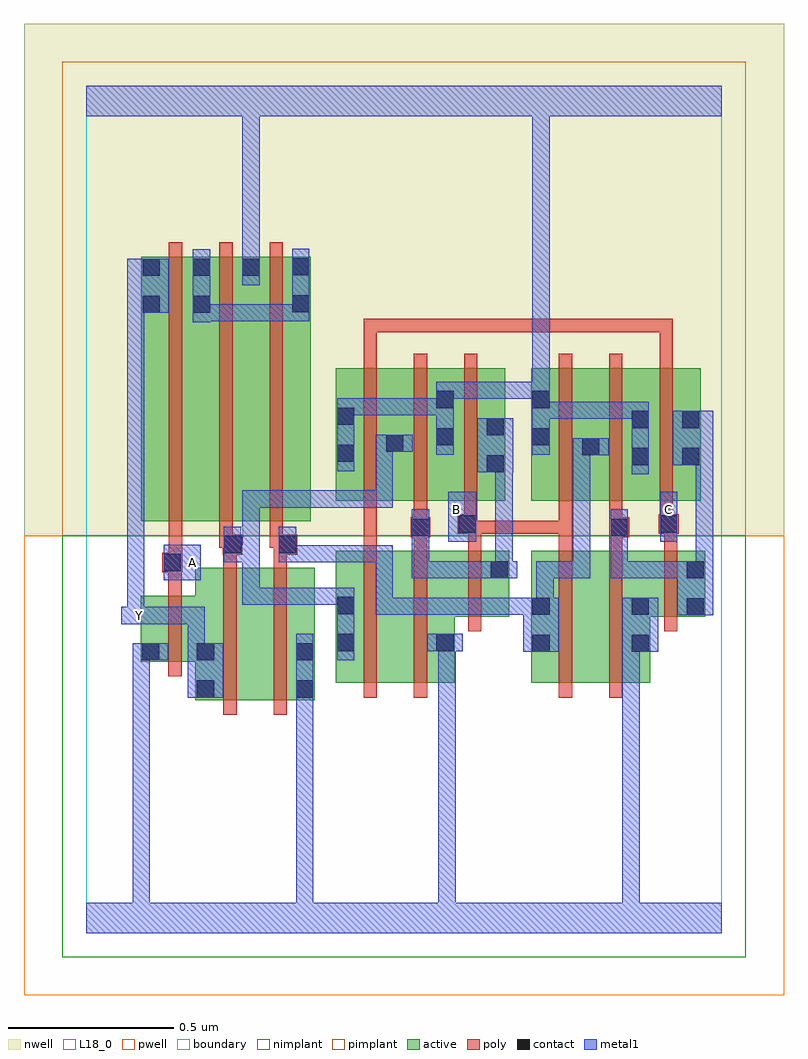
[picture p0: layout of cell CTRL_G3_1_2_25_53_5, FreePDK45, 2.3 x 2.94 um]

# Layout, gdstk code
import gdstk
lib = gdstk.Library(unit=1e-6, precision=1e-09)
def R(c, l, rs):  # rectangles x0, y0, x1, y1
    for r in rs: c.add(gdstk.rectangle(r[:2], r[2:], *l))
def A(c, l, x, y, w, h, nx, ny, dx, dy):  # array of equal rectangles
    R(c, l, [(x+i*dx, y+j*dy, x+i*dx+w, y+j*dy+h) for i in range(nx) for j in range(ny)])
active = (1, 0)
pwell = (2, 0)
nwell = (3, 0)
nimplant = (4, 0)
pimplant = (5, 0)
poly = (9, 0)
contact = (10, 0)
metal1 = (11, 0)
L18_0 = (18, 0)
boundary = (235, 0)

ctrl_g3_1_2_25_53_5 = lib.new_cell('CTRL_G3_1_2_25_53_5')
A(ctrl_g3_1_2_25_53_5, active, 0.318, 1.244, 0.06, 0.8, 3, 1, 0.15, 0)
R(ctrl_g3_1_2_25_53_5, active, [(0.33,0.704,0.51,1.104), (0.33,0.704,0.39,1.02), (0.51,0.704,0.69,1.104), (0.63,0.704,0.69,1.104), (0.754,0.756,0.934,1.156), (0.754,0.756,0.814,1.156), (0.934,0.756,1.114,1.156), (1.054,0.756,1.114,1.022), (1.344,0.756,1.524,1.156), (1.344,0.756,1.404,1.156), (1.524,0.756,1.704,1.156), (0.164,0.82,0.224,1.02), (0.164,0.82,0.39,1.02), (1.644,0.846,1.704,1.018), (1.054,0.956,1.278,1.156), (1.218,0.956,1.278,1.156), (1.644,0.956,1.87,1.156), (1.81,0.956,1.87,1.156), (0.166,1.244,0.226,2.044), (0.166,1.244,0.378,2.044), (0.318,1.244,0.528,2.044), (0.468,1.244,0.678,2.044), (0.754,1.306,0.814,1.644), (0.754,1.306,0.962,1.706), (0.902,1.306,1.114,1.706), (1.054,1.306,1.114,1.706), (1.054,1.306,1.266,1.706), (1.206,1.306,1.266,1.644), (1.344,1.306,1.554,1.706), (1.344,1.306,1.404,1.644), (1.494,1.306,1.704,1.706), (1.644,1.306,1.856,1.706), (1.796,1.306,1.856,1.706), (1.644,1.41,1.704,1.644), (1.494,1.44,1.554,1.644), (0.902,1.45,0.962,1.644)])
R(ctrl_g3_1_2_25_53_5, pwell, [(-0.188,-0.188,2.108,1.2)])
R(ctrl_g3_1_2_25_53_5, nwell, [(-0.188,1.2,2.108,2.748)])
R(ctrl_g3_1_2_25_53_5, nimplant, [(-0.072,-0.072,1.992,1.2)])
R(ctrl_g3_1_2_25_53_5, pimplant, [(-0.072,1.2,1.992,2.632)])
A(ctrl_g3_1_2_25_53_5, poly, 0.25, 1.2, 0.04, 0.888, 3, 1, 0.152, 0)
A(ctrl_g3_1_2_25_53_5, poly, 0.838, 1.262, 0.04, 0.488, 3, 1, 0.152, 0)
A(ctrl_g3_1_2_25_53_5, poly, 1.428, 1.262, 0.04, 0.488, 3, 1, 0.152, 0)
R(ctrl_g3_1_2_25_53_5, poly, [(0.414,0.66,0.454,1.148), (0.566,0.66,0.606,1.148), (0.838,0.712,0.878,1.2), (0.99,0.712,1.03,1.2), (1.428,0.712,1.468,1.2), (1.58,0.712,1.62,1.2), (0.248,0.776,0.288,1.064), (1.154,0.912,1.194,1.2), (1.746,0.912,1.786,1.2), (0.248,1.024,0.288,1.13), (0.23,1.09,0.29,1.15), (0.248,1.09,0.288,1.13), (0.248,1.09,0.288,1.13), (0.414,1.108,0.454,1.184), (0.566,1.108,0.606,1.184), (0.25,1.11,0.29,1.24), (0.412,1.144,0.472,1.204), (0.566,1.144,0.638,1.204), (0.838,1.16,0.878,1.266), (0.99,1.16,1.03,1.236), (1.154,1.16,1.194,1.246), (1.428,1.16,1.468,1.246), (1.58,1.16,1.62,1.236), (1.746,1.16,1.786,1.246), (0.402,1.164,0.442,1.24), (0.402,1.164,0.452,1.204), (0.412,1.164,0.452,1.204), (0.554,1.164,0.594,1.24), (0.554,1.164,0.606,1.204), (0.566,1.164,0.606,1.204), (0.98,1.196,1.04,1.256), (1.58,1.196,1.64,1.256), (1.122,1.206,1.182,1.266), (1.142,1.206,1.182,1.246), (1.142,1.206,1.194,1.246), (1.154,1.206,1.194,1.246), (1.154,1.206,1.194,1.246), (1.154,1.206,1.468,1.246), (1.428,1.206,1.468,1.246), (1.428,1.206,1.468,1.246), (1.428,1.206,1.468,1.246), (1.428,1.206,1.468,1.246), (1.428,1.206,1.468,1.246), (1.428,1.206,1.468,1.302), (1.73,1.206,1.79,1.266), (1.746,1.206,1.786,1.246), (1.746,1.206,1.786,1.246), (0.99,1.216,1.03,1.256), (0.99,1.216,1.03,1.256), (0.99,1.216,1.03,1.302), (1.58,1.216,1.62,1.256), (1.58,1.216,1.62,1.256), (1.58,1.216,1.62,1.302), (0.838,1.226,0.878,1.266), (0.838,1.226,0.878,1.266), (0.838,1.226,0.878,1.266), (0.838,1.226,0.878,1.302), (1.142,1.226,1.182,1.302), (1.732,1.226,1.772,1.302), (0.838,1.71,0.878,1.856), (1.732,1.71,1.772,1.856), (0.838,1.816,0.878,1.856), (0.838,1.816,0.878,1.856), (0.838,1.816,0.878,1.856), (0.838,1.816,1.04,1.856), (1,1.816,1.04,1.856), (1,1.816,1.04,1.856), (1,1.816,1.04,1.856), (1,1.816,1.146,1.856), (1.106,1.816,1.146,1.856), (1.106,1.816,1.146,1.856), (1.106,1.816,1.146,1.856), (1.106,1.816,1.514,1.856), (1.474,1.816,1.514,1.856), (1.474,1.816,1.514,1.856), (1.474,1.816,1.514,1.856), (1.474,1.816,1.664,1.856), (1.624,1.816,1.664,1.856), (1.624,1.816,1.664,1.856), (1.624,1.816,1.664,1.856), (1.624,1.816,1.772,1.856), (1.732,1.816,1.772,1.856), (1.732,1.816,1.772,1.856), (1.732,1.816,1.772,1.856)])
R(ctrl_g3_1_2_25_53_5, contact, [(0.334,0.712,0.386,0.764), (0.634,0.712,0.686,0.764), (0.168,0.824,0.22,0.876), (0.334,0.824,0.386,0.876), (0.634,0.824,0.686,0.876), (1.348,0.85,1.4,0.902), (1.648,0.85,1.7,0.902), (0.758,0.852,0.81,0.904), (1.058,0.852,1.11,0.904), (1.814,0.96,1.866,1.012), (1.348,0.962,1.4,1.014), (1.648,0.962,1.7,1.014), (0.758,0.964,0.81,1.016), (1.222,1.072,1.274,1.124), (1.814,1.072,1.866,1.124), (0.234,1.094,0.286,1.146), (0.416,1.148,0.468,1.2), (0.582,1.148,0.634,1.2), (0.984,1.2,1.036,1.252), (1.584,1.2,1.636,1.252), (1.126,1.21,1.178,1.262), (1.734,1.21,1.786,1.262), (1.21,1.392,1.262,1.444), (1.648,1.414,1.7,1.466), (1.8,1.414,1.852,1.466), (0.758,1.424,0.81,1.476), (1.498,1.444,1.55,1.496), (0.906,1.454,0.958,1.506), (1.058,1.474,1.11,1.526), (1.348,1.474,1.4,1.526), (1.21,1.504,1.262,1.556), (1.648,1.526,1.7,1.578), (1.8,1.526,1.852,1.578), (0.758,1.536,0.81,1.588), (1.058,1.586,1.11,1.638), (1.348,1.586,1.4,1.638), (0.17,1.874,0.222,1.926), (0.322,1.874,0.374,1.926), (0.622,1.876,0.674,1.928), (0.17,1.986,0.222,2.038), (0.322,1.986,0.374,2.038), (0.472,1.986,0.524,2.038), (0.622,1.988,0.674,2.04)])
R(ctrl_g3_1_2_25_53_5, metal1, [(0,0,1.92,0.092), (0.14,0.04,0.192,0.092), (0.14,0.04,0.192,0.092), (0.14,0.04,0.192,0.092), (0.14,0.04,0.192,0.092), (0.14,0.04,0.192,0.092), (0.14,0.04,0.192,0.092), (0.14,0.04,0.192,0.092), (0.14,0.04,0.192,0.092), (0.14,0.04,0.192,0.092), (0.14,0.04,0.192,0.092), (0.14,0.04,0.192,0.092), (0.14,0.04,0.192,0.092), (0.14,0.04,0.192,0.092), (0.14,0.04,0.192,0.092), (0.14,0.04,0.192,0.876), (0.634,0.04,0.686,0.092), (0.634,0.04,0.686,0.092), (0.634,0.04,0.686,0.092), (0.634,0.04,0.686,0.092), (0.634,0.04,0.686,0.092), (0.634,0.04,0.686,0.092), (0.634,0.04,0.686,0.736), (1.064,0.04,1.116,0.092), (1.064,0.04,1.116,0.092), (1.064,0.04,1.116,0.092), (1.064,0.04,1.116,0.092), (1.064,0.04,1.116,0.092), (1.064,0.04,1.116,0.092), (1.064,0.04,1.116,0.904), (1.62,0.04,1.672,0.902), (0.634,0.684,0.686,0.736), (0.634,0.684,0.686,0.736), (0.634,0.684,0.686,0.736), (0.634,0.684,0.686,0.736), (0.634,0.684,0.686,0.736), (0.634,0.684,0.686,0.736), (0.634,0.684,0.686,0.904), (0.306,0.712,0.414,0.876), (0.14,0.824,0.192,0.876), (0.14,0.824,0.192,0.876), (0.14,0.824,0.248,0.876), (0.306,0.824,0.358,0.986), (0.758,0.824,0.81,1.044), (1.32,0.85,1.428,1.014), (1.62,0.85,1.672,0.902), (1.62,0.85,1.672,0.902), (1.62,0.85,1.672,0.902), (1.62,0.85,1.672,0.902), (1.62,0.85,1.672,0.902), (1.62,0.85,1.672,0.902), (1.62,0.85,1.672,0.902), (1.62,0.85,1.672,0.902), (1.62,0.85,1.672,0.902), (1.62,0.85,1.672,0.902), (1.62,0.85,1.672,0.902), (1.62,0.85,1.672,0.902), (1.62,0.85,1.728,1.014), (1.03,0.852,1.138,0.904), (1.064,0.852,1.116,0.904), (1.064,0.852,1.116,0.904), (1.064,0.852,1.116,0.904), (1.064,0.852,1.116,0.904), (1.064,0.852,1.116,0.904), (1.064,0.852,1.116,0.904), (0.106,0.934,0.214,0.986), (0.124,0.934,0.176,1.926), (0.162,0.934,0.214,0.986), (0.162,0.934,0.214,0.986), (0.162,0.934,0.358,0.986), (0.306,0.934,0.358,0.986), (1.786,0.96,1.894,1.124), (0.874,0.962,0.926,1.014), (0.874,0.962,1.036,1.014), (0.874,0.962,0.926,1.172), (0.984,0.962,1.036,1.014), (0.984,0.962,1.036,1.014), (0.984,0.962,1.036,1.014), (0.984,0.962,1.036,1.014), (0.984,0.962,1.036,1.014), (0.984,0.962,1.262,1.014), (1.21,0.962,1.262,1.014), (1.21,0.962,1.262,1.014), (1.21,0.962,1.262,1.014), (1.21,0.962,1.372,1.014), (1.36,0.962,1.412,1.124), (0.472,0.992,0.524,1.044), (0.472,0.992,0.634,1.044), (0.472,0.992,0.524,1.172), (0.582,0.992,0.634,1.044), (0.582,0.992,0.634,1.044), (0.582,0.992,0.634,1.044), (0.582,0.992,0.81,1.044), (0.234,1.066,0.346,1.174), (0.984,1.072,1.036,1.224), (0.984,1.072,1.262,1.124), (1.194,1.072,1.302,1.124), (1.21,1.072,1.262,1.124), (1.21,1.072,1.288,1.124), (1.236,1.072,1.288,1.124), (1.236,1.072,1.288,1.124), (1.236,1.072,1.288,1.124), (1.236,1.072,1.288,1.124), (1.236,1.072,1.288,1.444), (1.36,1.072,1.412,1.124), (1.36,1.072,1.522,1.124), (1.47,1.072,1.522,1.124), (1.47,1.072,1.522,1.124), (1.47,1.072,1.522,1.124), (1.47,1.072,1.522,1.124), (1.47,1.072,1.522,1.124), (1.47,1.072,1.522,1.496), (1.584,1.072,1.636,1.224), (1.584,1.072,1.894,1.124), (1.842,1.072,1.894,1.124), (1.842,1.072,1.894,1.124), (1.842,1.072,1.894,1.124), (1.842,1.072,1.894,1.124), (1.842,1.072,1.894,1.466), (0.416,1.12,0.468,1.228), (0.416,1.12,0.524,1.172), (0.472,1.12,0.524,1.172), (0.472,1.12,0.524,1.338), (0.582,1.12,0.634,1.172), (0.582,1.12,0.634,1.172), (0.582,1.12,0.634,1.228), (0.582,1.12,0.816,1.172), (0.764,1.12,0.816,1.172), (0.764,1.12,0.816,1.172), (0.764,1.12,0.816,1.172), (0.764,1.12,0.926,1.172), (0.874,1.12,0.926,1.172), (0.984,1.172,1.036,1.224), (0.984,1.172,1.036,1.28), (1.584,1.172,1.636,1.224), (1.584,1.172,1.636,1.28), (1.094,1.182,1.178,1.334), (1.734,1.182,1.786,1.334), (0.472,1.286,0.524,1.338), (0.472,1.286,0.634,1.338), (0.582,1.286,0.634,1.338), (0.582,1.286,0.634,1.338), (0.582,1.286,0.634,1.338), (0.582,1.286,0.816,1.338), (0.764,1.286,0.816,1.338), (0.764,1.286,0.816,1.338), (0.764,1.286,0.816,1.338), (0.764,1.286,0.926,1.338), (0.874,1.286,0.926,1.338), (0.874,1.286,0.926,1.506), (1.648,1.386,1.7,1.606), (1.182,1.392,1.29,1.556), (0.758,1.396,0.81,1.616), (1.772,1.414,1.894,1.578), (1.842,1.414,1.894,1.466), (1.842,1.414,1.894,1.466), (1.47,1.444,1.522,1.496), (1.47,1.444,1.522,1.496), (1.47,1.444,1.578,1.496), (1.058,1.446,1.11,1.666), (1.348,1.446,1.4,1.666), (0.874,1.454,0.986,1.506), (1.348,1.554,1.526,1.606), (1.474,1.554,1.526,1.606), (1.474,1.554,1.526,1.606), (1.474,1.554,1.526,1.606), (1.474,1.554,1.676,1.606), (1.624,1.554,1.676,1.606), (1.624,1.554,1.7,1.606), (0.758,1.564,0.81,1.616), (0.758,1.564,0.81,1.616), (0.758,1.564,0.926,1.616), (0.874,1.564,0.926,1.616), (0.874,1.564,0.926,1.616), (0.874,1.564,0.926,1.616), (0.874,1.564,1.11,1.616), (1.058,1.614,1.262,1.666), (1.21,1.614,1.262,1.666), (1.21,1.614,1.4,1.666), (1.348,1.614,1.4,1.666), (1.348,1.614,1.4,1.666), (1.348,1.614,1.4,2.52), (0.322,1.846,0.374,2.066), (0.322,1.848,0.484,1.9), (0.432,1.848,0.484,1.9), (0.432,1.848,0.484,1.9), (0.432,1.848,0.484,1.9), (0.432,1.848,0.674,1.9), (0.622,1.848,0.674,1.9), (0.622,1.848,0.674,1.9), (0.622,1.848,0.674,2.068), (0.124,1.874,0.176,1.926), (0.124,1.874,0.176,1.926), (0.124,1.874,0.25,2.038), (0.472,1.958,0.524,2.066), (0.472,2.014,0.524,2.066), (0.472,2.014,0.524,2.066), (0.472,2.014,0.524,2.52), (0,2.468,1.92,2.56), (0.472,2.468,0.524,2.52), (0.472,2.468,0.524,2.52), (0.472,2.468,0.524,2.52), (0.472,2.468,0.524,2.52), (0.472,2.468,0.524,2.52), (0.472,2.468,0.524,2.52), (1.348,2.468,1.4,2.52), (1.348,2.468,1.4,2.52), (1.348,2.468,1.4,2.52), (1.348,2.468,1.4,2.52), (1.348,2.468,1.4,2.52), (1.348,2.468,1.4,2.52), (1.348,2.468,1.4,2.52), (1.348,2.468,1.4,2.52), (1.348,2.468,1.4,2.52), (1.348,2.468,1.4,2.52), (1.348,2.468,1.4,2.52), (1.348,2.468,1.4,2.52), (1.348,2.468,1.4,2.52), (1.348,2.468,1.4,2.52), (1.348,2.468,1.4,2.52), (1.348,2.468,1.4,2.52)])
R(ctrl_g3_1_2_25_53_5, L18_0, [(0,0,1.92,0.092), (0.14,0.04,0.192,0.092), (0.14,0.04,0.192,0.092), (0.14,0.04,0.192,0.092), (0.14,0.04,0.192,0.092), (0.14,0.04,0.192,0.092), (0.14,0.04,0.192,0.092), (0.14,0.04,0.192,0.092), (0.14,0.04,0.192,0.092), (0.14,0.04,0.192,0.092), (0.14,0.04,0.192,0.092), (0.14,0.04,0.192,0.092), (0.14,0.04,0.192,0.092), (0.14,0.04,0.192,0.092), (0.14,0.04,0.192,0.092), (0.14,0.04,0.192,0.876), (0.634,0.04,0.686,0.092), (0.634,0.04,0.686,0.092), (0.634,0.04,0.686,0.092), (0.634,0.04,0.686,0.092), (0.634,0.04,0.686,0.092), (0.634,0.04,0.686,0.092), (0.634,0.04,0.686,0.736), (1.064,0.04,1.116,0.092), (1.064,0.04,1.116,0.092), (1.064,0.04,1.116,0.092), (1.064,0.04,1.116,0.092), (1.064,0.04,1.116,0.092), (1.064,0.04,1.116,0.092), (1.064,0.04,1.116,0.904), (1.62,0.04,1.672,0.902), (0.634,0.684,0.686,0.736), (0.634,0.684,0.686,0.736), (0.634,0.684,0.686,0.736), (0.634,0.684,0.686,0.736), (0.634,0.684,0.686,0.736), (0.634,0.684,0.686,0.736), (0.634,0.684,0.686,0.904), (0.306,0.712,0.414,0.876), (0.14,0.824,0.192,0.876), (0.14,0.824,0.192,0.876), (0.14,0.824,0.248,0.876), (0.306,0.824,0.358,0.986), (1.62,0.85,1.672,0.902), (1.62,0.85,1.672,0.902), (1.62,0.85,1.672,0.902), (1.62,0.85,1.672,0.902), (1.62,0.85,1.672,0.902), (1.62,0.85,1.672,0.902), (1.62,0.85,1.672,0.902), (1.62,0.85,1.672,0.902), (1.62,0.85,1.672,0.902), (1.62,0.85,1.672,0.902), (1.62,0.85,1.672,0.902), (1.62,0.85,1.672,0.902), (1.62,0.85,1.728,1.014), (1.03,0.852,1.138,0.904), (1.064,0.852,1.116,0.904), (1.064,0.852,1.116,0.904), (1.064,0.852,1.116,0.904), (1.064,0.852,1.116,0.904), (1.064,0.852,1.116,0.904), (1.064,0.852,1.116,0.904), (0.106,0.934,0.214,0.986), (0.124,0.934,0.176,1.926), (0.134,0.934,0.186,0.986), (0.162,0.934,0.214,0.986), (0.162,0.934,0.214,0.986), (0.162,0.934,0.358,0.986), (0.306,0.934,0.358,0.986), (0.234,1.066,0.346,1.174), (0.294,1.094,0.346,1.146), (1.094,1.182,1.178,1.334), (1.734,1.182,1.786,1.334), (1.094,1.254,1.146,1.306), (1.734,1.254,1.786,1.306), (1.648,1.386,1.7,1.606), (0.758,1.396,0.81,1.616), (1.058,1.446,1.11,1.666), (1.348,1.446,1.4,1.666), (1.348,1.554,1.526,1.606), (1.474,1.554,1.526,1.606), (1.474,1.554,1.526,1.606), (1.474,1.554,1.526,1.606), (1.474,1.554,1.676,1.606), (1.624,1.554,1.676,1.606), (1.624,1.554,1.7,1.606), (0.758,1.564,0.81,1.616), (0.758,1.564,0.81,1.616), (0.758,1.564,0.926,1.616), (0.874,1.564,0.926,1.616), (0.874,1.564,0.926,1.616), (0.874,1.564,0.926,1.616), (0.874,1.564,1.11,1.616), (1.058,1.614,1.262,1.666), (1.21,1.614,1.262,1.666), (1.21,1.614,1.4,1.666), (1.348,1.614,1.4,1.666), (1.348,1.614,1.4,1.666), (1.348,1.614,1.4,2.52), (0.124,1.874,0.176,1.926), (0.124,1.874,0.176,1.926), (0.124,1.874,0.25,2.038), (0.472,1.958,0.524,2.066), (0.472,2.014,0.524,2.066), (0.472,2.014,0.524,2.066), (0.472,2.014,0.524,2.52), (0,2.468,1.92,2.56), (0.472,2.468,0.524,2.52), (0.472,2.468,0.524,2.52), (0.472,2.468,0.524,2.52), (0.472,2.468,0.524,2.52), (0.472,2.468,0.524,2.52), (0.472,2.468,0.524,2.52), (1.348,2.468,1.4,2.52), (1.348,2.468,1.4,2.52), (1.348,2.468,1.4,2.52), (1.348,2.468,1.4,2.52), (1.348,2.468,1.4,2.52), (1.348,2.468,1.4,2.52), (1.348,2.468,1.4,2.52), (1.348,2.468,1.4,2.52), (1.348,2.468,1.4,2.52), (1.348,2.468,1.4,2.52), (1.348,2.468,1.4,2.52), (1.348,2.468,1.4,2.52), (1.348,2.468,1.4,2.52), (1.348,2.468,1.4,2.52), (1.348,2.468,1.4,2.52), (1.348,2.468,1.4,2.52)])
R(ctrl_g3_1_2_25_53_5, boundary, [(0,0,1.92,2.56)])
ctrl_g3_1_2_25_53_5.add(gdstk.Label('A', (0.32,1.12), layer=11, texttype=0))
ctrl_g3_1_2_25_53_5.add(gdstk.Label('B', (1.12,1.28), layer=11, texttype=0))
ctrl_g3_1_2_25_53_5.add(gdstk.Label('C', (1.76,1.28), layer=11, texttype=0))
ctrl_g3_1_2_25_53_5.add(gdstk.Label('Y', (0.16,0.96), layer=11, texttype=0))

lib.write_gds('CTRL_G3_1_2_25_53_5.gds')
